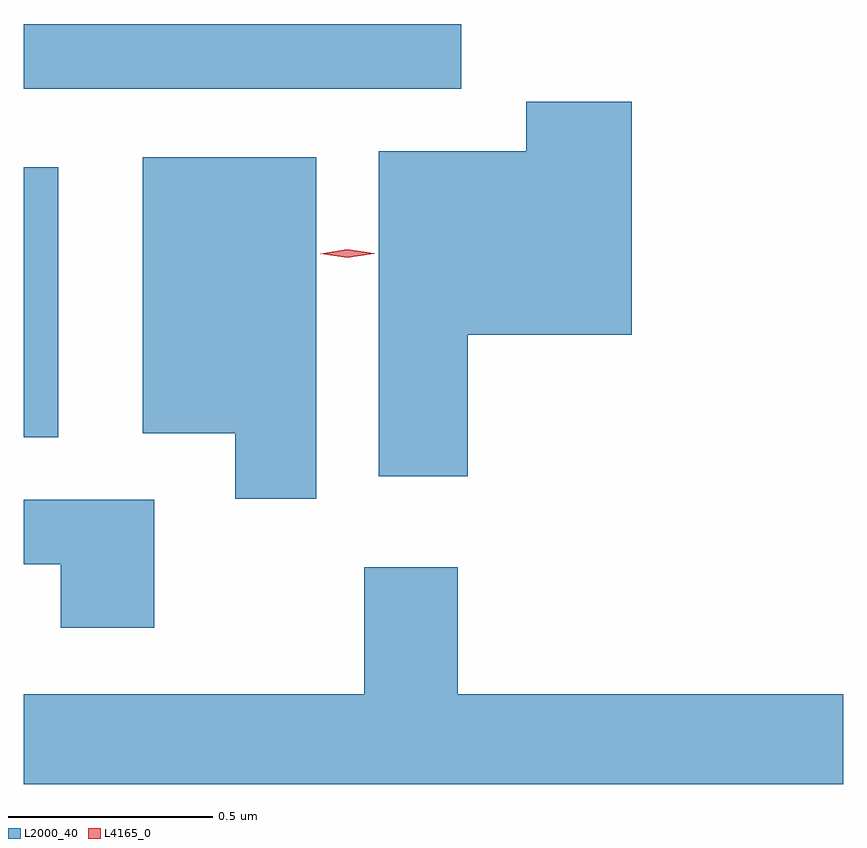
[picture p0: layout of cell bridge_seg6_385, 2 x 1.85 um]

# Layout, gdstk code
import gdstk
lib = gdstk.Library(unit=1e-6, precision=1e-09)
def R(c, l, rs):  # rectangles x0, y0, x1, y1
    for r in rs: c.add(gdstk.rectangle(r[:2], r[2:], *l))
def P(c, l, *ps):  # polygons
    for p in ps: c.add(gdstk.Polygon(p, *l))
L2000_40 = (2000, 40)
L4165_0 = (4165, 0)

bridge_seg6_385 = lib.new_cell('bridge_seg6_385')
R(bridge_seg6_385, L2000_40, [(1377.69,1564.251,1377.774,1564.909), (1377.69,1565.101,1378.758,1565.259)])
P(bridge_seg6_385, L2000_40, [(1378.774,1564.501),(1379.174,1564.501),(1379.174,1565.069),(1378.916,1565.069),(1378.916,1564.949),(1378.556,1564.949),(1378.556,1564.156),(1378.774,1564.156)],
  [(1378.404,1564.934),(1377.981,1564.934),(1377.981,1564.261),(1378.206,1564.261),(1378.206,1564.101),(1378.404,1564.101)],
  [(1378.009,1564.099),(1377.69,1564.099),(1377.69,1563.941),(1377.781,1563.941),(1377.781,1563.786),(1378.009,1563.786)],
  [(1379.69,1563.624),(1378.749,1563.624),(1378.749,1563.934),(1378.521,1563.934),(1378.521,1563.624),(1377.69,1563.624),(1377.69,1563.405),(1379.69,1563.405)])
P(bridge_seg6_385, L4165_0, [(1378.48,1564.689),(1378.414,1564.698),(1378.414,1564.699),(1378.414,1564.699),(1378.48,1564.709),(1378.546,1564.7),(1378.546,1564.699),(1378.546,1564.699)])

lib.write_gds('bridge_seg6_385.gds')
